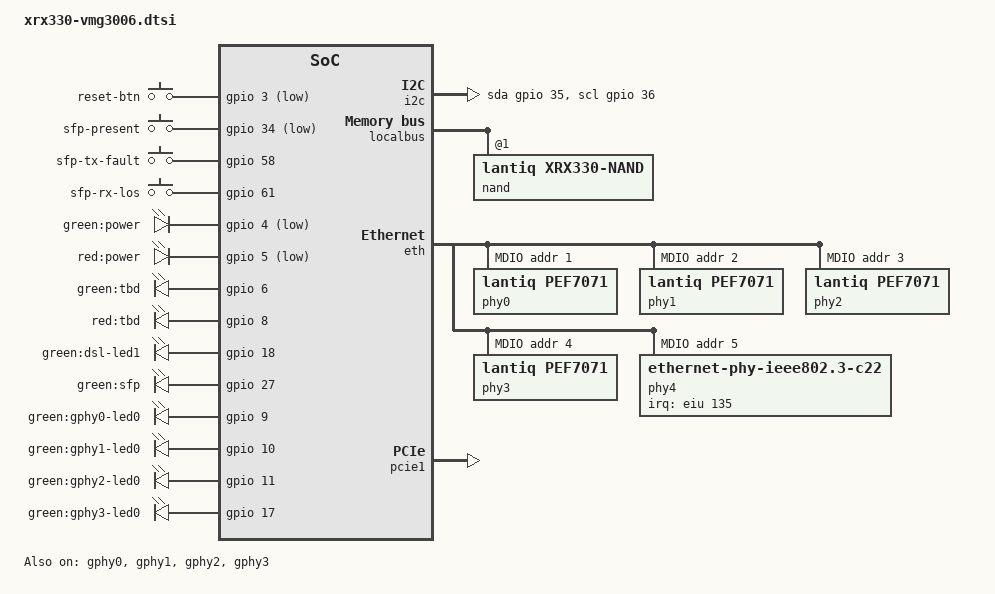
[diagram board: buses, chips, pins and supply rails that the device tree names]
// SPDX-License-Identifier: GPL-2.0
/*
 * Copyright (C) 2014-2019 Sphairon GmbH (a Zyxel company)
 */

#include <dt-bindings/gpio/gpio.h>
#include <dt-bindings/interrupt-controller/irq.h>
#include "xrx330.dtsi"

/ {
	gpio-keys-polled {
		compatible = "gpio-keys-polled";
		#address-cells = <1>;
		#size-cells = <0>;
		poll-interval = <101>;

		pinctrl-names = "default";
		pinctrl-0 = <&pins_gpio_keys_default>;

		reset {
			label = "reset-btn";
			gpios = <&gpio 3 GPIO_ACTIVE_LOW>;
			linux,code = <0x100>;	/* BTN_0 */
		};

		sfp_present {
			label = "sfp-present";
			gpios = <&gpio 34 GPIO_ACTIVE_LOW>;
			linux,code = <0x101>;	/* BTN_1 */
		};

		sfp_tx_fault {
			label = "sfp-tx-fault";
			gpios = <&gpio 58 GPIO_ACTIVE_HIGH>;
			linux,code = <0x102>;	/* BTN_2 */
		};

		sfp_rx_los {
			label = "sfp-rx-los";
			gpios = <&gpio 61 GPIO_ACTIVE_HIGH>;
			linux,code = <0x103>;	/* BTN_3 */
		};
	};

	gpio-leds {
		compatible = "gpio-leds";

		pinctrl-names = "default";
		pinctrl-0 = <&pins_gpio_leds_default>;

		power_green {
			label = "green:power";
			gpios = <&gpio 4 GPIO_ACTIVE_LOW>;
			default-state = "off";
		};
		power_red {
			label = "red:power";
			gpios = <&gpio 5 GPIO_ACTIVE_LOW>;
			default-state = "on";
		};
		tbd_green {
			label = "green:tbd";
			gpios = <&gpio 6 GPIO_ACTIVE_HIGH>;
			default-state = "off";
		};
		tbd_red {
			label = "red:tbd";
			gpios = <&gpio 8 GPIO_ACTIVE_HIGH>;
			default-state = "off";
		};
		dsl_green {
			label = "green:dsl-led1";
			gpios = <&gpio 18 GPIO_ACTIVE_HIGH>;
			default-state = "off";
		};
		sfp_green {
			label = "green:sfp";
			gpios = <&gpio 27 GPIO_ACTIVE_HIGH>;
			default-state = "off";
		};
		gphy0_green {
			label = "green:gphy0-led0";
			gpios = <&gpio 9 GPIO_ACTIVE_HIGH>;
			default-state = "off";
		};
		gphy1_green {
			label = "green:gphy1-led0";
			gpios = <&gpio 10 GPIO_ACTIVE_HIGH>;
			default-state = "off";
		};
		gphy2_green {
			label = "green:gphy2-led0";
			gpios = <&gpio 11 GPIO_ACTIVE_HIGH>;
			default-state = "off";
		};
		gphy3_green {
			label = "green:gphy3-led0";
			gpios = <&gpio 17 GPIO_ACTIVE_HIGH>;
			default-state = "off";
		};
	};

	sph_platform {
		#address-cells = <1>;
		#size-cells = <0>;
		compatible = "sphairon,platform";

		sfp_pon_rs {
			label = "sfp-pon-rs";
			gpios = <&gpio 15 GPIO_ACTIVE_HIGH>;
			default-state = "on";
		};

		sfp_tx_disable {
			label = "sfp-tx-disable";
			gpios = <&gpio 26 GPIO_ACTIVE_HIGH>;
			default-state = "on";
		};
	};

	i2c {
		compatible = "i2c-gpio";

		pinctrl-names = "default";
		pinctrl-0 = <&pins_i2c_default>;

		gpios = <&gpio 35 GPIO_ACTIVE_HIGH /* sda */
			 &gpio 36 GPIO_ACTIVE_HIGH /* scl */
			>;

		i2c-gpio,delay-us = <2>;	/* ~100 kHz */
		#address-cells = <1>;
		#size-cells = <0>;
	};
};

&gpio {
	pinctrl-names = "default";
	pinctrl-0 = <&pins_default>;

	pins_default: pins_default {
	};

	pins_eth_default: pins_eth_default {
		mdio {
			lantiq,groups = "mdio";
			lantiq,function = "mdio";
			lantiq,output = <1>;
		};
		exin1 {
			lantiq,groups = "exin1";
			lantiq,function = "exin";
			lantiq,pull = <0>;
			lantiq,output = <0>;
		};
	};

	pins_gpio_keys_default: pins_gpio_keys_default {
		gpio_in {
			lantiq,pins = "io3";
			lantiq,output = <0>;
		};

		gpio_in_tmp {
			lantiq,pins = "io34", "io58", "io61";
			lantiq,output = <0>;
		};
	};

	pins_gpio_leds_default: pins_gpio_leds_default {
		gpio_out {
			lantiq,pins = "io4", "io5", "io6", "io8", "io9", "io10",
					"io11", "io17", "io18", "io27";
			lantiq,output = <1>;
		};
	};

	pins_nand_default: pins_nand_default {
		nand_out {
			lantiq,groups = "nand cs1", "nand cle",
					"nand ale", "nand rd",
					"nand wr", "nand wp",
					"nand data";
			lantiq,function = "ebu";
			lantiq,output = <1>;
		};
		nand_in {
			lantiq,groups = "nand rdy";
			lantiq,function = "ebu";
			lantiq,output = <0>;
		};
	};

	pins_i2c_default: pins_i2c_default {
		sda {
			lantiq,pins = "io35";
			lantiq,pull = <0>;
			lantiq,output = <0>;
		};
		scl {
			lantiq,pins = "io36";
			lantiq,output = <1>;
			lantiq,drive = <1>;
		};
	};

	pins_pcie1_default: pins_pcie1_default {
		reset {
			lantiq,pins = "io0";
			lantiq,output = <1>;
			lantiq,drive = <0>;
		};
	};
};

&localbus {
	nand@1 {
		compatible = "lantiq,xrx330-nand";
		reg = <1 0x0 0x2000000>;
		linux,mtd-name = "nand-xway";
		pinctrl-names = "default";
		pinctrl-0 = <&pins_nand_default>;
		nand-ecc-mode = "hw";
		bbt-use-flash;
	};
};

&gphy0 {
	lantiq,phy-mode = "11g";
	status = "ok";
};

&gphy1 {
	lantiq,phy-mode = "11g";
	status = "ok";
};

&gphy2 {
	lantiq,phy-mode = "11g";
	status = "ok";
};

&gphy3 {
	lantiq,phy-mode = "11g";
	status = "ok";
};

&eth {
	pinctrl-names = "default";
	pinctrl-0 = <&pins_eth_default>;

	mdio@0 {
		phy0: ethernet-phy@1 {
			compatible = "lantiq,pef7071", "ethernet-phy-ieee802.3-c22";
			/*interrupt-parent = <&icu0>;
			interrupts = <122>;*/
			reg = <0x1>;
			lantiq,led0 = <0x0>;
			lantiq,led1 = <0x0>;
			lantiq,led2 = <0x0>;
		};

		phy1: ethernet-phy@2 {
			compatible = "lantiq,pef7071", "ethernet-phy-ieee802.3-c22";
			/*interrupt-parent = <&icu0>;
			interrupts = <121>;*/
			reg = <0x2>;
			lantiq,led0 = <0x0>;
			lantiq,led1 = <0x0>;
			lantiq,led2 = <0x0>;
		};

		phy2: ethernet-phy@3 {
			compatible = "lantiq,pef7071", "ethernet-phy-ieee802.3-c22";
			/*interrupt-parent = <&icu0>;
			interrupts = <134>;*/
			reg = <0x3>;
			lantiq,led0 = <0x0>;
			lantiq,led1 = <0x0>;
			lantiq,led2 = <0x0>;
		};

		phy3: ethernet-phy@4 {
			compatible = "lantiq,pef7071", "ethernet-phy-ieee802.3-c22";
			/*interrupt-parent = <&icu0>;
			interrupts = <28>;*/
			reg = <0x4>;
			lantiq,led0 = <0x0>;
			lantiq,led1 = <0x0>;
			lantiq,led2 = <0x0>;
		};

		phy4: ethernet-phy@5 {
			compatible = "ethernet-phy-ieee802.3-c22";
			/* EXIN1, low-active, falling edge */
			interrupt-parent = <&eiu>;
			interrupts = <135 2>;
			reg = <0x5>;
		};
	};

	ethernet@1 {
		phy-handle = <&phy0>;
		phy-mode = "gmii";
		status = "ok";
		lantiq,port-name = "sw-p1-lan3";
	};

	ethernet@2 {
		phy-handle = <&phy1>;
		phy-mode = "gmii";
		status = "ok";
		lantiq,port-name = "sw-p2-lan1";
	};

	ethernet@3 {
		phy-handle = <&phy2>;
		phy-mode = "gmii";
		status = "ok";
		lantiq,port-name = "sw-p3-lan4";
	};

	ethernet@4 {
		phy-handle = <&phy3>;
		phy-mode = "gmii";
		status = "ok";
		lantiq,port-name = "sw-p4-lan2";
	};

	ethernet@5 {
		phy-handle = <&phy4>;
		phy-mode = "rgmii-id";
		status = "ok";
		lantiq,port-name = "sw-p5-wan";

		resets = <&rcu 0 0>;
		reset-names = "phy";
	};
};

&pcie1 {
	pinctrl-names = "default";
	pinctrl-0 = <&pins_pcie1_default>;

	status = "ok";
	lantiq,reset-gpio = <&gpio 0 GPIO_ACTIVE_LOW>;
	lantiq,rst-interval = <200>;
	lantiq,inbound-swap = <1>;
	lantiq,outbound-swap = <0>;
	lantiq,phy-mode = <1>;
};
